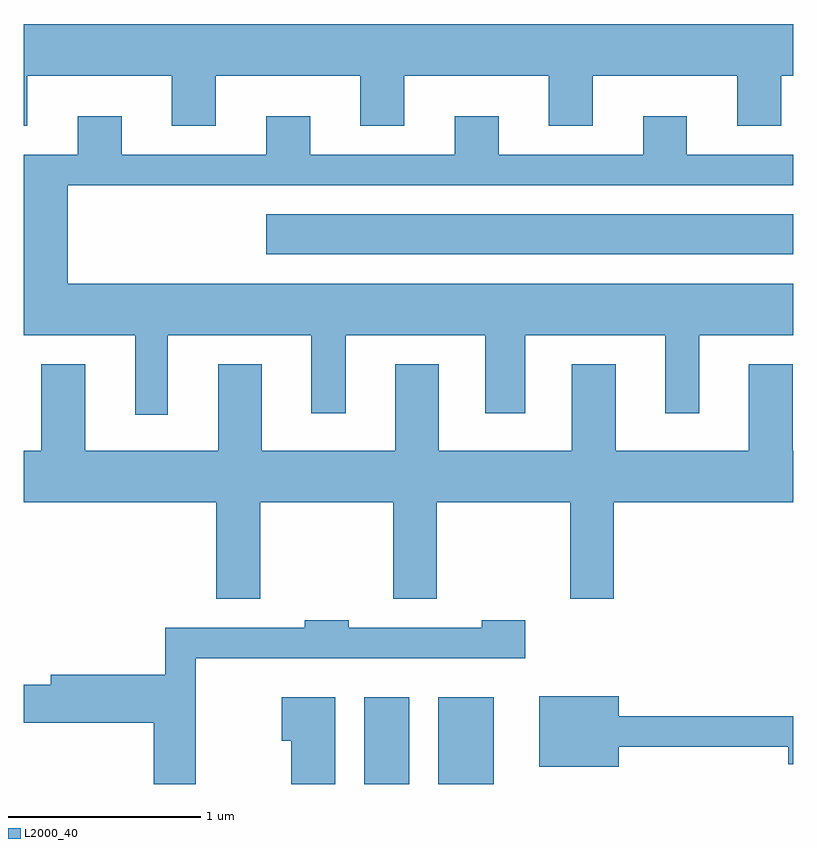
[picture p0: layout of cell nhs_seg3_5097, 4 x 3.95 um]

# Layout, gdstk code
import gdstk
lib = gdstk.Library(unit=1e-6, precision=1e-09)
def R(c, l, rs):  # rectangles x0, y0, x1, y1
    for r in rs: c.add(gdstk.rectangle(r[:2], r[2:], *l))
def P(c, l, *ps):  # polygons
    for p in ps: c.add(gdstk.Polygon(p, *l))
L2000_40 = (2000, 40)

nhs_seg3_5097 = lib.new_cell('nhs_seg3_5097')
R(nhs_seg3_5097, L2000_40, [(337.381,1117.892,337.614,1118.344), (337.766,1117.892,338.054,1118.344), (336.871,1120.646,339.611,1120.854)])
P(nhs_seg3_5097, L2000_40, [(335.629,1121.576),(336.381,1121.576),(336.381,1121.316),(336.609,1121.316),(336.609,1121.576),(337.361,1121.576),(337.361,1121.316),(337.589,1121.316),(337.589,1121.576),(338.341,1121.576),(338.341,1121.316),(338.569,1121.316),(338.569,1121.576),(339.321,1121.576),(339.321,1121.316),(339.549,1121.316),(339.549,1121.576),(339.611,1121.576),(339.611,1121.844),(335.611,1121.844),(335.611,1121.316),(335.629,1121.316)],
  [(336.359,1120.226),(337.106,1120.226),(337.106,1119.821),(337.284,1119.821),(337.284,1120.226),(338.011,1120.226),(338.011,1119.821),(338.219,1119.821),(338.219,1120.226),(338.946,1120.226),(338.946,1119.821),(339.124,1119.821),(339.124,1120.226),(339.611,1120.226),(339.611,1120.494),(335.839,1120.494),(335.839,1121.006),(339.611,1121.006),(339.611,1121.164),(339.059,1121.164),(339.059,1121.364),(338.831,1121.364),(338.831,1121.164),(338.079,1121.164),(338.079,1121.364),(337.851,1121.364),(337.851,1121.164),(337.099,1121.164),(337.099,1121.364),(336.871,1121.364),(336.871,1121.164),(336.119,1121.164),(336.119,1121.364),(335.891,1121.364),(335.891,1121.164),(335.611,1121.164),(335.611,1120.226),(336.191,1120.226),(336.191,1119.813),(336.359,1119.813)],
  [(336.839,1119.356),(337.531,1119.356),(337.531,1118.856),(337.759,1118.856),(337.759,1119.356),(338.451,1119.356),(338.451,1118.856),(338.679,1118.856),(338.679,1119.356),(339.611,1119.356),(339.611,1119.624),(339.609,1119.624),(339.609,1120.074),(339.381,1120.074),(339.381,1119.624),(338.689,1119.624),(338.689,1120.074),(338.461,1120.074),(338.461,1119.624),(337.769,1119.624),(337.769,1120.074),(337.541,1120.074),(337.541,1119.624),(336.849,1119.624),(336.849,1120.074),(336.621,1120.074),(336.621,1119.624),(335.929,1119.624),(335.929,1120.074),(335.701,1120.074),(335.701,1119.624),(335.611,1119.624),(335.611,1119.356),(336.611,1119.356),(336.611,1118.856),(336.839,1118.856)],
  [(336.504,1118.546),(338.219,1118.546),(338.219,1118.744),(337.991,1118.744),(337.991,1118.704),(337.299,1118.704),(337.299,1118.744),(337.071,1118.744),(337.071,1118.704),(336.346,1118.704),(336.346,1118.459),(335.751,1118.459),(335.751,1118.409),(335.611,1118.409),(335.611,1118.211),(336.286,1118.211),(336.286,1117.892),(336.504,1117.892)],
  [(338.704,1118.086),(339.586,1118.086),(339.586,1117.996),(339.611,1117.996),(339.611,1118.244),(338.704,1118.244),(338.704,1118.349),(338.291,1118.349),(338.291,1117.981),(338.704,1117.981)],
  [(337.229,1118.344),(336.951,1118.344),(336.951,1118.116),(337.001,1118.116),(337.001,1117.892),(337.229,1117.892)])

lib.write_gds('nhs_seg3_5097.gds')
